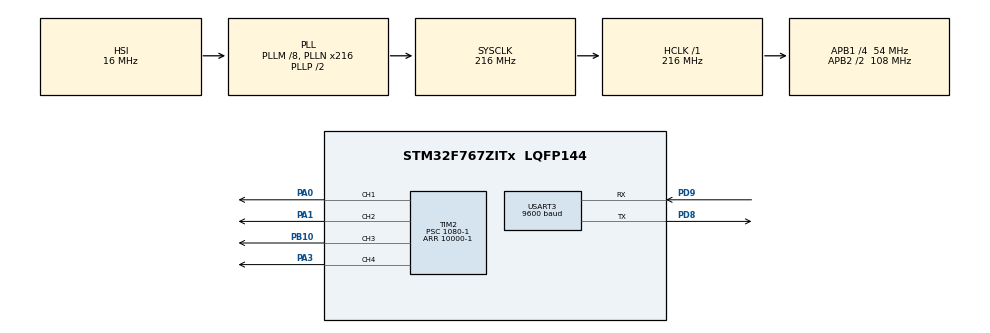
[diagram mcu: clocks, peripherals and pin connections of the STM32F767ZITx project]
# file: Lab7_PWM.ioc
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Mcu.Family=STM32F7
Mcu.Name=STM32F767ZITx
Mcu.Package=LQFP144
NVIC.PriorityGroup=NVIC_PRIORITYGROUP_2
NVIC.USART3_IRQn=true\:1\:0\:true\:false\:true\:true\:true
PA0/WKUP.GPIO_Speed=GPIO_SPEED_FREQ_VERY_HIGH
PA0/WKUP.Signal=S_TIM2_CH1_ETR
PA1.GPIO_Speed=GPIO_SPEED_FREQ_VERY_HIGH
PA1.Signal=S_TIM2_CH2
PA3.GPIO_Speed=GPIO_SPEED_FREQ_VERY_HIGH
PA3.Signal=S_TIM2_CH4
PB10.GPIO_Speed=GPIO_SPEED_FREQ_VERY_HIGH
PB10.Signal=S_TIM2_CH3
PD8.Mode=Asynchronous
PD8.Signal=USART3_TX
PD9.Mode=Asynchronous
PD9.Signal=USART3_RX
ProjectManager.HeapSize=0x200
ProjectManager.StackSize=0x400
ProjectManager.TargetToolchain=MDK-ARM V5
RCC.AHBFreq_Value=216000000
RCC.APB1CLKDivider=RCC_HCLK_DIV4
RCC.APB1Freq_Value=54000000
RCC.APB1TimFreq_Value=108000000
RCC.APB2CLKDivider=RCC_HCLK_DIV2
RCC.APB2Freq_Value=108000000
RCC.APB2TimFreq_Value=216000000
RCC.CortexFreq_Value=216000000
RCC.HCLKFreq_Value=216000000
RCC.HSE_VALUE=25000000
RCC.HSI_VALUE=16000000
RCC.LSE_VALUE=32768
RCC.PLLM=8
RCC.PLLN=216
RCC.SYSCLKFreq_VALUE=216000000
RCC.SYSCLKSource=RCC_SYSCLKSOURCE_PLLCLK
RCC.USBFreq_Value=216000000
RCC.VCOOutputFreq_Value=432000000
SH.S_TIM2_CH1_ETR.0=TIM2_CH1,PWM Generation1 CH1
SH.S_TIM2_CH2.0=TIM2_CH2,PWM Generation2 CH2
SH.S_TIM2_CH3.0=TIM2_CH3,PWM Generation3 CH3
SH.S_TIM2_CH4.0=TIM2_CH4,PWM Generation4 CH4
TIM2.Channel-PWM\ Generation1\ CH1=TIM_CHANNEL_1
TIM2.Channel-PWM\ Generation2\ CH2=TIM_CHANNEL_2
TIM2.Channel-PWM\ Generation3\ CH3=TIM_CHANNEL_3
TIM2.Channel-PWM\ Generation4\ CH4=TIM_CHANNEL_4
TIM2.CounterMode=TIM_COUNTERMODE_UP
TIM2.OCMode_PWM-PWM\ Generation1\ CH1=TIM_OCMODE_PWM2
TIM2.OCMode_PWM-PWM\ Generation2\ CH2=TIM_OCMODE_PWM2
TIM2.OCMode_PWM-PWM\ Generation3\ CH3=TIM_OCMODE_PWM2
TIM2.OCMode_PWM-PWM\ Generation4\ CH4=TIM_OCMODE_PWM2
TIM2.Period=10000-1
TIM2.Prescaler=1080-1
TIM2.Pulse-PWM\ Generation1\ CH1=10000/4-1
TIM2.Pulse-PWM\ Generation2\ CH2=10000/4-1
TIM2.Pulse-PWM\ Generation3\ CH3=10000/4-1
TIM2.Pulse-PWM\ Generation4\ CH4=10000/4-1
USART3.BaudRate=9600
USART3.VirtualMode-Asynchronous=VM_ASYNC
VP_TIM2_VS_ClockSourceINT.Mode=Internal
board=custom

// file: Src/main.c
/* USER CODE BEGIN Header */
/**
  ******************************************************************************
  * @file           : main.c
  * @brief          : Main program body
  ******************************************************************************
  * @attention
  *
  * <h2><center>&copy; Copyright (c) 2019 STMicroelectronics.
  * All rights reserved.</center></h2>
  *
  * This software component is licensed by ST under BSD 3-Clause license,
  * the "License"; You may not use this file except in compliance with the
  * License. You may obtain a copy of the License at:
  *                        opensource.org/licenses/BSD-3-Clause
  *
  ******************************************************************************
  */
/* USER CODE END Header */

#include "main.h"
#include "tim.h"
#include "usart.h"
#include "gpio.h"

/* USER CODE BEGIN PV */
//uint8_t pwm;
double dutyCycle1 = 1.0;
double dutyCycle3 = 1.0;
double dutyCycle4 = 1.0;
/* USER CODE END PV */

void SystemClock_Config(void);

int main(void)
{

  /* MCU Configuration--------------------------------------------------------*/

  /* Reset of all peripherals, Initializes the Flash interface and the Systick. */
  HAL_Init();

  /* Configure the system clock */
  SystemClock_Config();

  /* Initialize all configured peripherals */
  MX_GPIO_Init();
  MX_TIM2_Init();
  MX_USART3_UART_Init();

  /* Infinite loop */
  while (1)
  {

    /* USER CODE BEGIN 3 */
		char ch1;
		while(__HAL_UART_GET_FLAG(&huart3,UART_FLAG_RXNE)== RESET){
			htim2.Instance -> CCR1 = (10000-1) * dutyCycle1;
		htim2.Instance -> CCR3 = (10000-1) * dutyCycle3;
		htim2.Instance -> CCR4 = (10000-1) * dutyCycle4;
		HAL_TIM_PWM_Start(&htim2, TIM_CHANNEL_1);
		HAL_TIM_PWM_Start(&htim2, TIM_CHANNEL_3);
		HAL_TIM_PWM_Start(&htim2, TIM_CHANNEL_4);
		HAL_TIM_PWM_Stop(&htim2, TIM_CHANNEL_1);
		HAL_TIM_PWM_Stop(&htim2, TIM_CHANNEL_3);
		HAL_TIM_PWM_Stop(&htim2, TIM_CHANNEL_4);
		}
		HAL_UART_Receive(&huart3, (uint8_t*) &ch1, 1, 1000);
		if(ch1 == 'r'){
				dutyCycle1 = dutyCycle1 <= 0.01? 1: dutyCycle1 -0.2;
		}
		else if(ch1 == 'b'){
			dutyCycle3 = dutyCycle3 <= 0.01? 1: dutyCycle3 -0.2;
		}
		else if(ch1 == 'g'){
			dutyCycle4 = dutyCycle4 <= 0.01? 1: dutyCycle4 -0.2;
		}
		htim2.Instance -> CCR1 = (10000-1) * dutyCycle1;
		htim2.Instance -> CCR3 = (10000-1) * dutyCycle3;
		htim2.Instance -> CCR4 = (10000-1) * dutyCycle4;
		HAL_TIM_PWM_Start(&htim2, TIM_CHANNEL_1);
		HAL_TIM_PWM_Start(&htim2, TIM_CHANNEL_3);
		HAL_TIM_PWM_Start(&htim2, TIM_CHANNEL_4);
		HAL_TIM_PWM_Stop(&htim2, TIM_CHANNEL_1);
		HAL_TIM_PWM_Stop(&htim2, TIM_CHANNEL_3);
		HAL_TIM_PWM_Stop(&htim2, TIM_CHANNEL_4);
		//pwm = (GPIOB->IDR & GPIO_PIN_10) >>10;
		//pwm = (GPIOA->IDR & GPIO_PIN_0);
		//pwm = (GPIOA->IDR & GPIO_PIN_3) >>3;
  }
  /* USER CODE END 3 */
}

void SystemClock_Config(void)
{
  RCC_OscInitTypeDef RCC_OscInitStruct = {0};
  RCC_ClkInitTypeDef RCC_ClkInitStruct = {0};
  RCC_PeriphCLKInitTypeDef PeriphClkInitStruct = {0};

  /** Configure the main internal regulator output voltage
  */
  __HAL_RCC_PWR_CLK_ENABLE();
  __HAL_PWR_VOLTAGESCALING_CONFIG(PWR_REGULATOR_VOLTAGE_SCALE1);
  /** Initializes the CPU, AHB and APB busses clocks
  */
  RCC_OscInitStruct.OscillatorType = RCC_OSCILLATORTYPE_HSI;
  RCC_OscInitStruct.HSIState = RCC_HSI_ON;
  RCC_OscInitStruct.HSICalibrationValue = RCC_HSICALIBRATION_DEFAULT;
  RCC_OscInitStruct.PLL.PLLState = RCC_PLL_ON;
  RCC_OscInitStruct.PLL.PLLSource = RCC_PLLSOURCE_HSI;
  RCC_OscInitStruct.PLL.PLLM = 8;
  RCC_OscInitStruct.PLL.PLLN = 216;
  RCC_OscInitStruct.PLL.PLLP = RCC_PLLP_DIV2;
  RCC_OscInitStruct.PLL.PLLQ = 2;
  if (HAL_RCC_OscConfig(&RCC_OscInitStruct) != HAL_OK)
  {
    Error_Handler();
  }
  /** Activate the Over-Drive mode
  */
  if (HAL_PWREx_EnableOverDrive() != HAL_OK)
  {
    Error_Handler();
  }
  /** Initializes the CPU, AHB and APB busses clocks
  */
  RCC_ClkInitStruct.ClockType = RCC_CLOCKTYPE_HCLK|RCC_CLOCKTYPE_SYSCLK
                              |RCC_CLOCKTYPE_PCLK1|RCC_CLOCKTYPE_PCLK2;
  RCC_ClkInitStruct.SYSCLKSource = RCC_SYSCLKSOURCE_PLLCLK;
  RCC_ClkInitStruct.AHBCLKDivider = RCC_SYSCLK_DIV1;
  RCC_ClkInitStruct.APB1CLKDivider = RCC_HCLK_DIV4;
  RCC_ClkInitStruct.APB2CLKDivider = RCC_HCLK_DIV2;

  if (HAL_RCC_ClockConfig(&RCC_ClkInitStruct, FLASH_LATENCY_7) != HAL_OK)
  {
    Error_Handler();
  }
  PeriphClkInitStruct.PeriphClockSelection = RCC_PERIPHCLK_USART3;
  PeriphClkInitStruct.Usart3ClockSelection = RCC_USART3CLKSOURCE_PCLK1;
  if (HAL_RCCEx_PeriphCLKConfig(&PeriphClkInitStruct) != HAL_OK)
  {
    Error_Handler();
  }
}

void Error_Handler(void)
{
}

/************************ (C) COPYRIGHT STMicroelectronics *****END OF FILE****/
